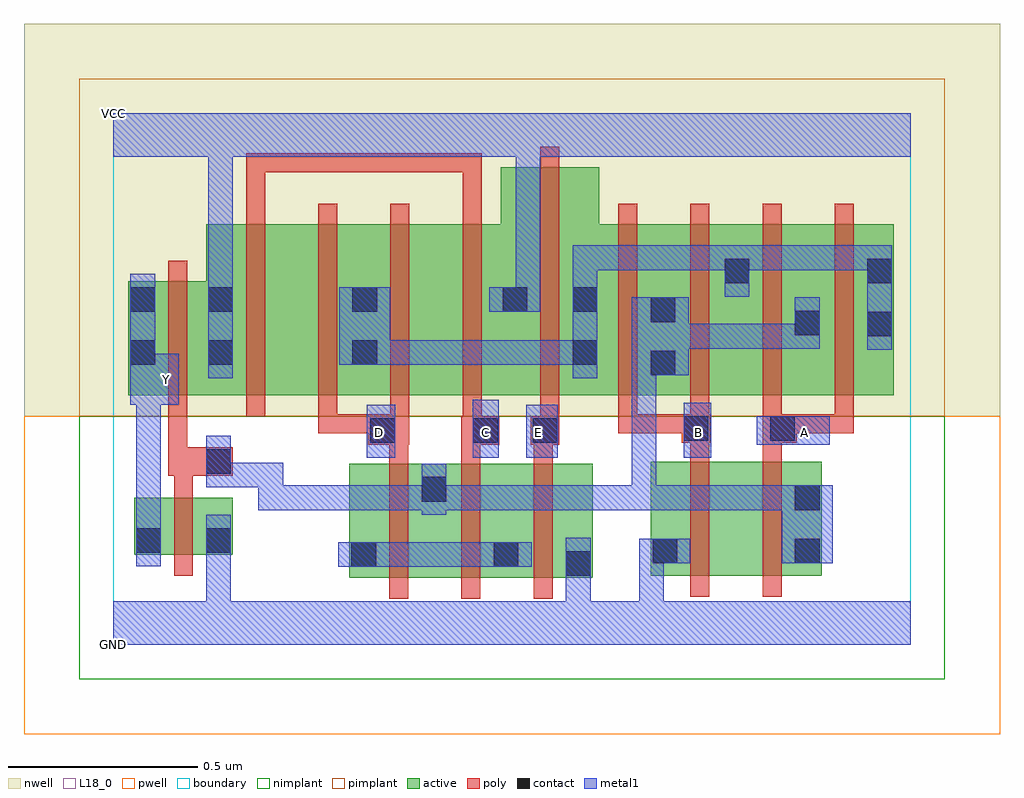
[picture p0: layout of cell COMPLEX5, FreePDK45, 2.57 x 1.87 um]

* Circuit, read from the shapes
.subckt COMPLEX5 A B C D E GND VCC Y
M1 GND n1 Y VSUBS nfet w=0.15u l=0.05u
M2 n1 D n2 VSUBS nfet w=0.3u l=0.05u
M3 n2 C n1 VSUBS nfet w=0.3u l=0.05u
M4 GND E n2 VSUBS nfet w=0.3u l=0.05u
M5 n3 B GND VSUBS nfet w=0.3u l=0.05u
M6 n1 A n3 VSUBS nfet w=0.3u l=0.05u
M7 VCC n1 Y n4 pfet w=0.3u l=0.05u
M8 n5 C VCC n4 pfet w=0.45u l=0.05u
M9 n6 D n5 n4 pfet w=0.45u l=0.05u
M10 n7 D n6 n4 pfet w=0.45u l=0.05u
M11 VCC C n7 n4 pfet w=0.45u l=0.05u
M12 n6 E VCC n4 pfet w=0.6u l=0.05u
M13 n1 B n6 n4 pfet w=0.45u l=0.05u m=2
M14 n1 A n6 n4 pfet w=0.45u l=0.05u m=2
.ends

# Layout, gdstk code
import gdstk
lib = gdstk.Library(unit=1e-6, precision=1e-09)
def R(c, l, rs):  # rectangles x0, y0, x1, y1
    for r in rs: c.add(gdstk.rectangle(r[:2], r[2:], *l))
def A(c, l, x, y, w, h, nx, ny, dx, dy):  # array of equal rectangles
    R(c, l, [(x+i*dx, y+j*dy, x+i*dx+w, y+j*dy+h) for i in range(nx) for j in range(ny)])
active = (1, 0)
pwell = (2, 0)
nwell = (3, 0)
nimplant = (4, 0)
pimplant = (5, 0)
poly = (9, 0)
contact = (10, 0)
metal1 = (11, 0)
L18_0 = (18, 0)
boundary = (235, 0)

complex5 = lib.new_cell('COMPLEX5')
R(complex5, active, [(0.622,0.177,0.882,0.477), (0.807,0.177,1.072,0.477), (0.997,0.177,1.262,0.477), (1.187,0.177,1.262,0.477), (1.415,0.182,1.64,0.482), (1.415,0.182,1.49,0.482), (1.64,0.182,1.865,0.482), (0.622,0.2,0.697,0.477), (0.997,0.2,1.072,0.392), (1.79,0.2,1.865,0.482), (0.055,0.237,0.13,0.387), (0.055,0.237,0.315,0.387), (0.24,0.237,0.315,0.387), (0.807,0.247,0.882,0.447), (0.04,0.657,0.115,0.957), (0.04,0.657,0.32,0.957), (0.245,0.657,0.32,1.107), (0.245,0.657,0.47,1.107), (0.47,0.657,0.7,1.107), (0.625,0.657,0.7,1.107), (0.625,0.657,0.85,1.107), (0.85,0.657,1.095,1.107), (1.02,0.657,1.28,1.257), (1.205,0.657,1.485,1.107), (1.41,0.657,1.485,1.07), (1.41,0.657,1.68,1.107), (1.605,0.657,1.865,1.107), (1.79,0.657,2.055,1.107), (1.79,0.657,1.865,1.07), (1.98,0.657,2.055,1.107), (1.205,0.695,1.28,1.2), (1.02,0.812,1.095,1.107), (1.605,0.857,1.68,1.107)])
R(complex5, pwell, [(-0.235,-0.235,2.335,0.602)])
R(complex5, nwell, [(-0.235,0.602,2.335,1.635)])
R(complex5, nimplant, [(-0.09,-0.09,2.19,0.602)])
R(complex5, pimplant, [(-0.09,0.602,2.19,1.49)])
A(complex5, poly, 0.727, 0.122, 0.05, 0.41, 3, 1, 0.19, 0)
A(complex5, poly, 0.727, 0.482, 0.05, 0.095, 3, 1, 0.19, 0)
A(complex5, poly, 1.33, 0.557, 0.05, 0.095, 4, 1, 0.19, 0)
A(complex5, poly, 0.35, 0.602, 0.05, 0.56, 4, 1, 0.19, 0)
A(complex5, poly, 1.33, 0.602, 0.05, 0.56, 4, 1, 0.19, 0)
R(complex5, poly, [(1.52,0.127,1.57,0.537), (1.71,0.127,1.76,0.537), (0.16,0.182,0.21,0.442), (0.16,0.392,0.21,0.495), (0.145,0.445,0.315,0.52), (0.145,0.47,0.195,0.652), (1.52,0.487,1.57,0.582), (1.71,0.487,1.76,0.582), (0.672,0.527,0.78,0.607), (0.917,0.527,1.017,0.602), (1.1,0.527,1.175,0.602), (1.497,0.532,1.572,0.607), (1.71,0.532,1.8,0.607), (0.92,0.552,0.97,0.652), (1.125,0.552,1.175,0.652), (0.54,0.557,0.59,0.652), (0.54,0.557,0.59,0.607), (0.54,0.557,0.59,0.607), (0.54,0.557,0.59,0.607), (0.54,0.557,0.722,0.607), (0.73,0.557,0.78,0.652), (1.33,0.557,1.38,0.607), (1.33,0.557,1.38,0.607), (1.33,0.557,1.38,0.607), (1.33,0.557,1.547,0.607), (1.75,0.557,1.95,0.607), (1.9,0.557,1.95,0.607), (1.9,0.557,1.95,0.607), (1.9,0.557,1.95,0.607), (0.145,0.602,0.195,1.012), (1.125,0.602,1.175,1.312), (0.35,1.112,0.4,1.295), (0.92,1.112,0.97,1.295), (0.35,1.245,0.4,1.295), (0.35,1.245,0.4,1.295), (0.35,1.245,0.4,1.295), (0.35,1.245,0.59,1.295), (0.54,1.245,0.59,1.295), (0.54,1.245,0.59,1.295), (0.54,1.245,0.59,1.295), (0.54,1.245,0.722,1.295), (0.672,1.245,0.722,1.295), (0.672,1.245,0.97,1.295), (0.92,1.245,0.97,1.295), (0.92,1.245,0.97,1.295), (0.92,1.245,0.97,1.295)])
R(complex5, contact, [(1.192,0.182,1.257,0.247), (0.627,0.205,0.692,0.27), (1.002,0.205,1.067,0.27), (1.42,0.215,1.485,0.28), (1.795,0.215,1.86,0.28), (0.06,0.242,0.125,0.307), (0.245,0.242,0.31,0.307), (1.795,0.355,1.86,0.42), (0.812,0.377,0.877,0.442), (0.245,0.45,0.31,0.515), (0.677,0.532,0.742,0.597), (0.947,0.532,1.012,0.597), (1.105,0.532,1.17,0.597), (1.502,0.537,1.567,0.602), (1.73,0.537,1.795,0.602), (1.415,0.71,1.48,0.775), (0.045,0.737,0.11,0.802), (0.25,0.737,0.315,0.802), (0.63,0.737,0.695,0.802), (1.21,0.737,1.275,0.802), (1.985,0.812,2.05,0.877), (1.795,0.815,1.86,0.88), (1.415,0.85,1.48,0.915), (0.045,0.877,0.11,0.942), (0.25,0.877,0.315,0.942), (0.63,0.877,0.695,0.942), (1.025,0.877,1.09,0.942), (1.21,0.877,1.275,0.942), (1.61,0.952,1.675,1.017), (1.985,0.952,2.05,1.017)])
R(complex5, metal1, [(0,0,2.1,0.115), (0.245,0.05,0.31,0.115), (0.245,0.05,0.31,0.115), (0.245,0.05,0.31,0.115), (0.245,0.05,0.31,0.115), (0.245,0.05,0.31,0.272), (1.192,0.05,1.257,0.212), (1.385,0.05,1.45,0.115), (1.385,0.05,1.45,0.115), (1.385,0.05,1.45,0.28), (1.192,0.147,1.257,0.212), (1.192,0.147,1.257,0.212), (1.192,0.147,1.257,0.282), (0.592,0.205,0.727,0.27), (0.662,0.205,0.727,0.27), (0.662,0.205,0.727,0.27), (0.662,0.205,0.867,0.27), (0.802,0.205,0.867,0.27), (0.802,0.205,0.867,0.27), (0.802,0.205,0.867,0.27), (0.802,0.205,1.032,0.27), (0.967,0.205,1.102,0.27), (0.06,0.207,0.125,0.342), (0.245,0.207,0.31,0.342), (1.385,0.215,1.52,0.28), (1.76,0.215,1.895,0.42), (0.06,0.277,0.125,0.697), (0.812,0.342,0.877,0.477), (0.382,0.355,0.447,0.42), (0.382,0.355,0.585,0.42), (0.382,0.355,0.447,0.48), (0.52,0.355,0.585,0.42), (0.52,0.355,0.585,0.42), (0.52,0.355,0.585,0.42), (0.52,0.355,0.722,0.42), (0.657,0.355,0.722,0.42), (0.657,0.355,0.877,0.42), (0.812,0.355,0.877,0.42), (0.812,0.355,0.877,0.42), (0.812,0.355,1.015,0.42), (0.95,0.355,1.015,0.42), (0.95,0.355,1.152,0.42), (1.087,0.355,1.152,0.42), (1.087,0.355,1.29,0.42), (1.225,0.355,1.29,0.42), (1.225,0.355,1.29,0.42), (1.225,0.355,1.29,0.42), (1.225,0.355,1.43,0.42), (1.365,0.355,1.43,0.42), (1.365,0.355,1.43,0.42), (1.365,0.355,1.43,0.42), (1.365,0.355,1.43,0.42), (1.365,0.355,1.43,0.42), (1.365,0.355,1.657,0.42), (1.365,0.355,1.43,0.775), (1.592,0.355,1.657,0.42), (1.592,0.355,1.825,0.42), (1.76,0.355,1.825,0.42), (1.76,0.355,1.825,0.42), (0.245,0.415,0.31,0.48), (0.245,0.415,0.31,0.48), (0.245,0.415,0.31,0.55), (0.245,0.415,0.447,0.48), (0.382,0.415,0.447,0.48), (0.382,0.415,0.447,0.48), (0.382,0.415,0.447,0.48), (0.667,0.492,0.742,0.632), (0.947,0.492,1.015,0.645), (1.087,0.492,1.17,0.632), (1.502,0.492,1.575,0.637), (1.695,0.527,1.887,0.602), (0.045,0.632,0.172,0.767), (0.045,0.702,0.11,0.767), (0.045,0.702,0.11,0.977), (0.25,0.702,0.315,0.977), (1.21,0.702,1.275,0.977), (1.365,0.71,1.515,0.915), (0.595,0.737,0.73,0.942), (0.665,0.737,0.73,0.802), (0.665,0.737,0.73,0.802), (0.665,0.737,0.877,0.802), (0.812,0.737,0.877,0.802), (0.812,0.737,0.877,0.802), (0.812,0.737,0.877,0.802), (0.812,0.737,1.015,0.802), (0.95,0.737,1.015,0.802), (0.95,0.737,1.015,0.802), (0.95,0.737,1.015,0.802), (0.95,0.737,1.275,0.802), (1.985,0.777,2.05,1.052), (1.45,0.78,1.515,0.845), (1.45,0.78,1.515,0.845), (1.45,0.78,1.652,0.845), (1.587,0.78,1.652,0.845), (1.587,0.78,1.652,0.845), (1.587,0.78,1.652,0.845), (1.587,0.78,1.86,0.845), (1.795,0.78,1.86,0.915), (0.99,0.877,1.125,0.942), (1.06,0.877,1.125,1.35), (0.25,0.912,0.315,1.35), (1.21,0.912,1.275,1.052), (1.61,0.917,1.675,1.052), (1.21,0.987,1.275,1.052), (1.21,0.987,1.29,1.052), (1.225,0.987,1.29,1.052), (1.225,0.987,1.515,1.052), (1.45,0.987,1.515,1.052), (1.45,0.987,1.515,1.052), (1.45,0.987,1.515,1.052), (1.45,0.987,1.675,1.052), (1.61,0.987,1.912,1.052), (1.847,0.987,1.912,1.052), (1.847,0.987,1.912,1.052), (1.847,0.987,1.912,1.052), (1.847,0.987,2.05,1.052), (1.985,0.987,2.05,1.052), (1.985,0.987,2.05,1.052), (0,1.285,2.1,1.4), (0.25,1.285,0.315,1.35), (0.25,1.285,0.315,1.35)])
R(complex5, L18_0, [(0,0,2.1,0.115), (0.245,0.05,0.31,0.115), (0.245,0.05,0.31,0.115), (0.245,0.05,0.31,0.115), (0.245,0.05,0.31,0.115), (0.245,0.05,0.31,0.272), (1.192,0.05,1.257,0.212), (1.385,0.05,1.45,0.115), (1.385,0.05,1.45,0.115), (1.385,0.05,1.45,0.28), (1.192,0.147,1.257,0.282), (1.192,0.147,1.257,0.212), (1.192,0.147,1.257,0.212), (0.06,0.207,0.125,0.342), (0.245,0.207,0.31,0.342), (1.385,0.215,1.52,0.28), (0.06,0.277,0.125,0.697), (0.667,0.492,0.742,0.632), (0.947,0.492,1.015,0.645), (1.087,0.492,1.17,0.632), (1.502,0.492,1.575,0.637), (0.667,0.527,0.732,0.592), (0.947,0.527,1.012,0.592), (1.087,0.527,1.152,0.592), (1.507,0.527,1.572,0.592), (1.695,0.527,1.887,0.602), (1.787,0.527,1.852,0.592), (0.045,0.632,0.172,0.767), (0.107,0.667,0.172,0.732), (0.045,0.702,0.11,0.977), (0.045,0.702,0.11,0.767), (0.25,0.702,0.315,0.977), (0.99,0.877,1.125,0.942), (1.06,0.877,1.125,1.35), (0.25,0.912,0.315,1.35), (0,1.285,2.1,1.4), (0.25,1.285,0.315,1.35), (0.25,1.285,0.315,1.35)])
R(complex5, boundary, [(0,0,2.1,1.4)])
complex5.add(gdstk.Label('A', (1.82,0.56), layer=11, texttype=0))
complex5.add(gdstk.Label('B', (1.54,0.56), layer=11, texttype=0))
complex5.add(gdstk.Label('C', (0.98,0.56), layer=11, texttype=0))
complex5.add(gdstk.Label('D', (0.7,0.56), layer=11, texttype=0))
complex5.add(gdstk.Label('E', (1.12,0.56), layer=11, texttype=0))
complex5.add(gdstk.Label('Y', (0.14,0.7), layer=11, texttype=0))
complex5.add(gdstk.Label('VCC', (0,1.4), layer=11, texttype=0))
complex5.add(gdstk.Label('GND', (0,0), layer=11, texttype=0))

lib.write_gds('COMPLEX5.gds')
